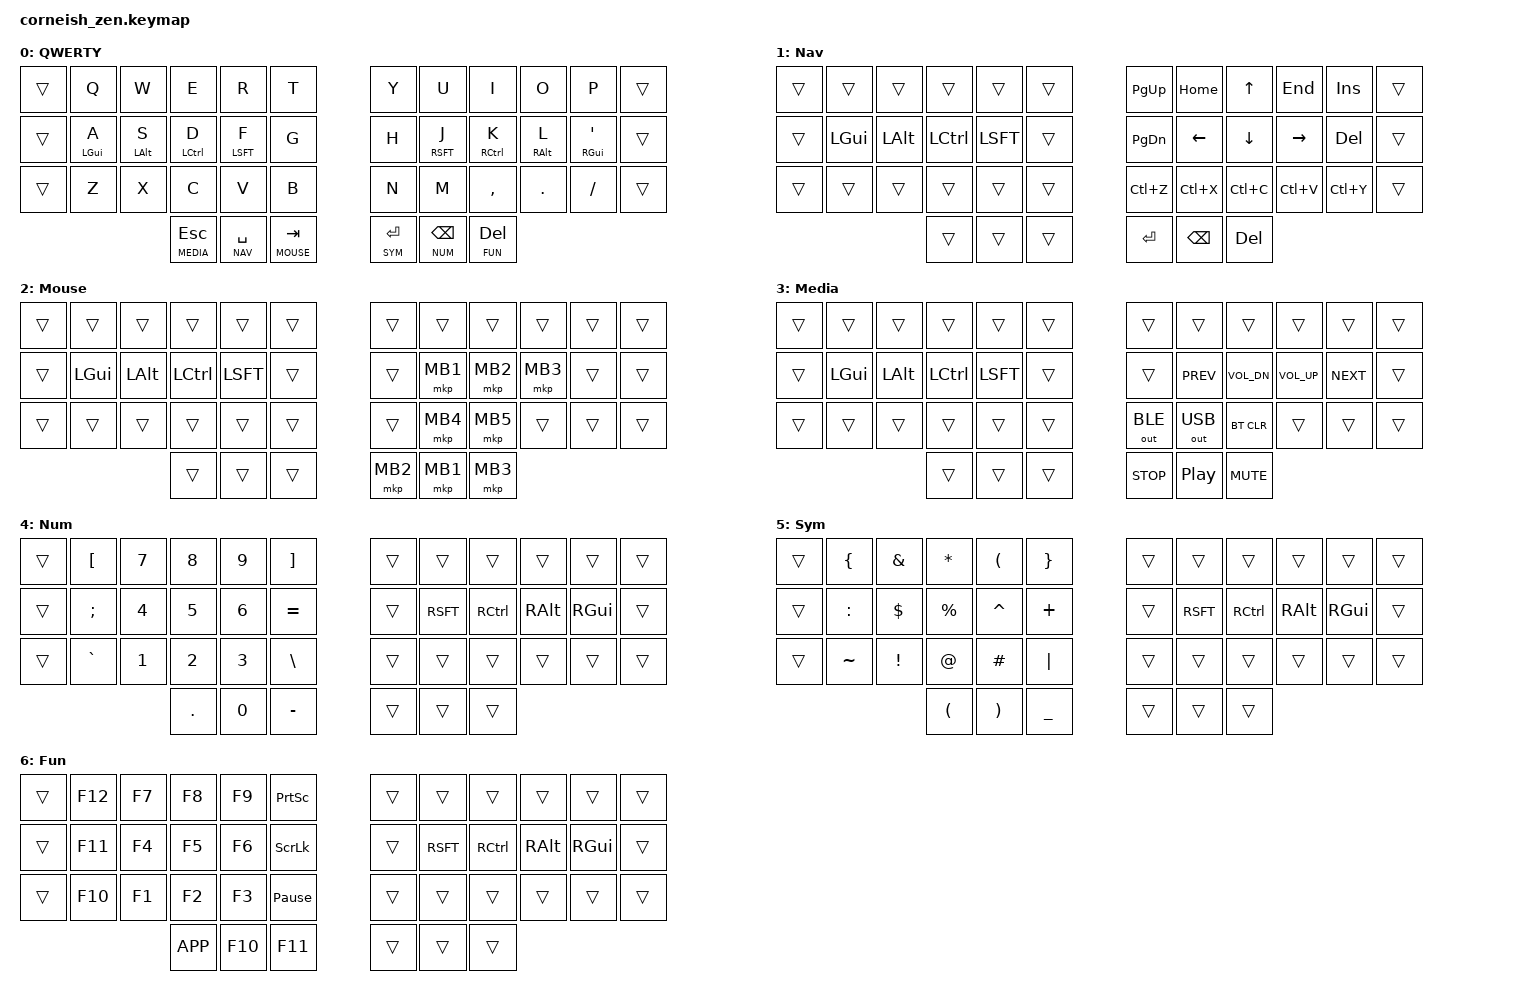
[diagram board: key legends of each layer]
/*
 * Miryoku · QWERTY · Windows clipboard
 * for Corne-ish Zen V2 clone (42-key default_transform, outer cols empty)
 */

#include <behaviors.dtsi>
#include <dt-bindings/zmk/bt.h>
#include <dt-bindings/zmk/keys.h>
#include <dt-bindings/zmk/outputs.h>
#include <dt-bindings/zmk/pointing.h>

#define BASE  0
#define NAV   1
#define MOUSE 2
#define MEDIA 3
#define NUM   4
#define SYM   5
#define FUN   6

/ {
    behaviors {
        hm: homerow_mods {
            compatible = "zmk,behavior-hold-tap";
            label = "HOMEROW_MODS";
            #binding-cells = <2>;
            tapping-term-ms = <200>;
            quick-tap-ms = <0>;
            flavor = "tap-preferred";
            bindings = <&kp>, <&kp>;
        };
    };

    keymap {
        compatible = "zmk,keymap";

        base_layer {
            display-name = "QWERTY";
            bindings = <
&trans  &kp Q       &kp W       &kp E       &kp R       &kp T           &kp Y       &kp U       &kp I       &kp O       &kp P       &trans
&trans  &hm LGUI A  &hm LALT S  &hm LCTL D  &hm LSFT F  &kp G           &kp H       &hm RSFT J  &hm RCTL K  &hm RALT L  &hm RGUI SQT &trans
&trans  &kp Z       &kp X       &kp C       &kp V       &kp B           &kp N       &kp M       &kp COMMA   &kp DOT     &kp FSLH    &trans
                                &lt MEDIA ESC &lt NAV SPC &lt MOUSE TAB  &lt SYM RET &lt NUM BSPC &lt FUN DEL
            >;
        };

        nav_layer {
            display-name = "Nav";
            bindings = <
&trans  &trans      &trans      &trans      &trans      &trans          &kp PG_UP   &kp HOME    &kp UP      &kp END     &kp INS     &trans
&trans  &kp LGUI    &kp LALT    &kp LCTL    &kp LSFT    &trans          &kp PG_DN   &kp LEFT    &kp DOWN    &kp RIGHT   &kp DEL     &trans
&trans  &trans      &trans      &trans      &trans      &trans          &kp LC(Z)   &kp LC(X)   &kp LC(C)   &kp LC(V)   &kp LC(Y)   &trans
                                &trans      &trans      &trans          &kp RET     &kp BSPC    &kp DEL
            >;
        };

        mouse_layer {
            display-name = "Mouse";
            bindings = <
&trans  &trans      &trans      &trans      &trans      &trans          &trans      &trans      &trans      &trans      &trans      &trans
&trans  &kp LGUI    &kp LALT    &kp LCTL    &kp LSFT    &trans          &trans      &mkp MB1    &mkp MB2    &mkp MB3    &trans      &trans
&trans  &trans      &trans      &trans      &trans      &trans          &trans      &mkp MB4    &mkp MB5    &trans      &trans      &trans
                                &trans      &trans      &trans          &mkp MB2    &mkp MB1    &mkp MB3
            >;
        };

        media_layer {
            display-name = "Media";
            bindings = <
&trans  &trans      &trans      &trans      &trans      &trans          &trans      &trans      &trans      &trans      &trans      &trans
&trans  &kp LGUI    &kp LALT    &kp LCTL    &kp LSFT    &trans          &trans      &kp C_PREV  &kp C_VOL_DN &kp C_VOL_UP &kp C_NEXT &trans
&trans  &trans      &trans      &trans      &trans      &trans          &out OUT_BLE &out OUT_USB &bt BT_CLR &trans      &trans      &trans
                                &trans      &trans      &trans          &kp C_STOP  &kp C_PP    &kp C_MUTE
            >;
        };

        num_layer {
            display-name = "Num";
            bindings = <
&trans  &kp LBKT    &kp N7      &kp N8      &kp N9      &kp RBKT        &trans      &trans      &trans      &trans      &trans      &trans
&trans  &kp SEMI    &kp N4      &kp N5      &kp N6      &kp EQUAL       &trans      &kp RSFT    &kp RCTL    &kp RALT    &kp RGUI    &trans
&trans  &kp GRAVE   &kp N1      &kp N2      &kp N3      &kp BSLH        &trans      &trans      &trans      &trans      &trans      &trans
                                &kp DOT     &kp N0      &kp MINUS       &trans      &trans      &trans
            >;
        };

        sym_layer {
            display-name = "Sym";
            bindings = <
&trans  &kp LBRC    &kp AMPS    &kp ASTRK   &kp LPAR    &kp RBRC        &trans      &trans      &trans      &trans      &trans      &trans
&trans  &kp COLON   &kp DLLR    &kp PRCNT   &kp CARET   &kp PLUS        &trans      &kp RSFT    &kp RCTL    &kp RALT    &kp RGUI    &trans
&trans  &kp TILDE   &kp EXCL    &kp AT      &kp HASH    &kp PIPE        &trans      &trans      &trans      &trans      &trans      &trans
                                &kp LPAR    &kp RPAR    &kp UNDER       &trans      &trans      &trans
            >;
        };

        fun_layer {
            display-name = "Fun";
            bindings = <
&trans  &kp F12     &kp F7      &kp F8      &kp F9      &kp PSCRN       &trans      &trans      &trans      &trans      &trans      &trans
&trans  &kp F11     &kp F4      &kp F5      &kp F6      &kp SLCK        &trans      &kp RSFT    &kp RCTL    &kp RALT    &kp RGUI    &trans
&trans  &kp F10     &kp F1      &kp F2      &kp F3      &kp PAUSE_BREAK &trans      &trans      &trans      &trans      &trans      &trans
                                &kp K_APP   &kp F10     &kp F11         &trans      &trans      &trans
            >;
        };

    };
};
